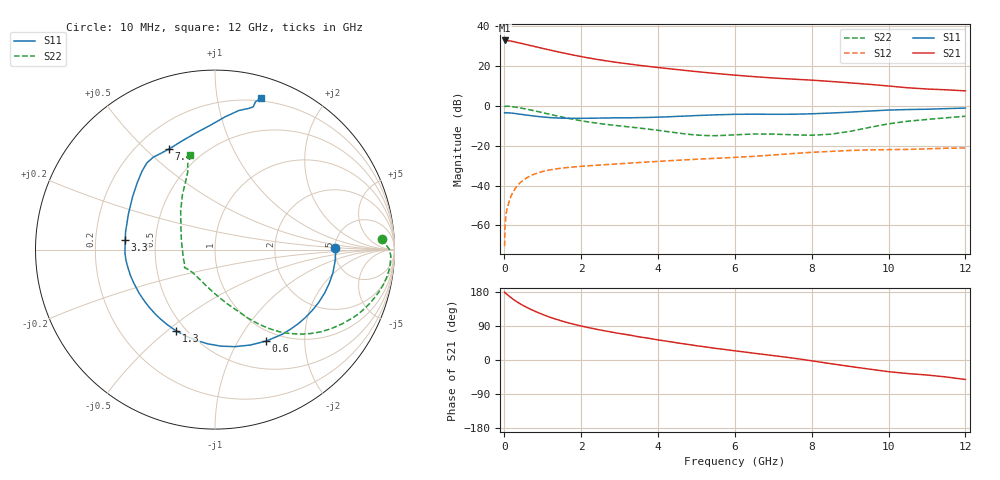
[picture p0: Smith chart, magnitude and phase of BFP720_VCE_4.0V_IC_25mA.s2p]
! Infineon Technologies  Discrete & RF Semiconductors
! BFP720
! VCE =  4.0 V,  IC =  25 mA
! Common Emitter S-Parameters:  Aug 2012
# GHz  S  MA  R  50
!  f  S11  S21  S12  S22
! GHz  MAG  ANG  MAG  ANG  MAG  ANG  MAG  ANG
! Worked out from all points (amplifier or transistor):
!   105 points, 10 MHz to 12 GHz, reference 50 ohm
!   highest |S21| = 32.9 dB at 20 MHz (marker M1)
!   |S21| within 3 dB of that: start of sweep to 782.3 MHz
!   unconditionally stable (mu >= 1): start of sweep to 17.07 MHz; 4.116 GHz to 9.706 GHz
!   at 300 MHz: K = 0.22, MSG = 36.6 dB, |S12| = -41.1 dB
!   at 3.6 GHz: K = 0.94, MSG = 24.3 dB, |S12| = -28.3 dB
!   at 12 GHz: K = 0.73, MSG = 14.3 dB, |S12| = -21.1 dB
!   S11 on the Smith chart (normalised r, x): 10 MHz: 4.99, +0.13; 600 MHz: 0.86, -1.32; 1.3 GHz: 0.44, -0.53; 3.3 GHz: 0.33, +0.05; 7.4 GHz: 0.33, +0.59; 12 GHz: 0.18, +1.33
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0.01  0.6661 0.6  43.83 179.2  0.0003 -1.6  0.9307 3.7
0.02  0.6723 -1.7  43.93 177.1  0.0009 71.3  0.9712 0.1
0.15  0.6638 -16.4  42.73 166.8  0.0046 77.0  0.971 -8.7
0.25  0.6483 -27.0  40.95 159.0  0.0073 74.8  0.9442 -14.3
0.3  0.6392 -32.0  39.91 155.6  0.0088 72.9  0.9277 -16.9
0.45  0.6111 -46.7  36.92 146.2  0.0126 67.7  0.8764 -24.1
0.6  0.5841 -60.7  34.2 138.1  0.0159 62.7  0.8202 -30.3
0.7  0.5672 -69.6  32.44 133.2  0.0179 59.5  0.7833 -34.2
0.9  0.539 -86.5  29.27 124.3  0.0211 54.1  0.7109 -41.1
1.1  0.5162 -101.9  26.42 116.2  0.0237 49.4  0.6422 -46.9
1.3  0.5014 -115.8  23.9 109.2  0.0257 45.8  0.5804 -52.0
1.7  0.4875 -138.0  19.73 97.2  0.0287 40.6  0.4792 -59.7
2.1  0.4875 -153.7  16.62 87.6  0.0308 37.6  0.4084 -65.5
2.6  0.4954 -168.2  13.77 77.2  0.0333 35.4  0.3482 -71.6
3.3  0.5024 174.1  11.09 65.0  0.0367 33.6  0.2926 -80.0
4.1  0.525 155.5  8.982 51.6  0.0409 31.8  0.2364 -92.8
5  0.5713 139.3  7.261 37.6  0.0457 29.4  0.1853 -118.3
6.1  0.615 127.3  5.817 23.0  0.0515 26.9  0.1894 -145.8
7.4  0.6163 114.8  4.763 6.5  0.0624 23.6  0.1899 -152.6
8.5  0.6606 98.8  4.108 -9.8  0.072 15.9  0.1944 164.6
10.5  0.8094 76.5  2.848 -35.8  0.0807 1.2  0.4116 113.5
12  0.8813 73.1  2.383 -51.4  0.0878 -8.5  0.5483 105.0
